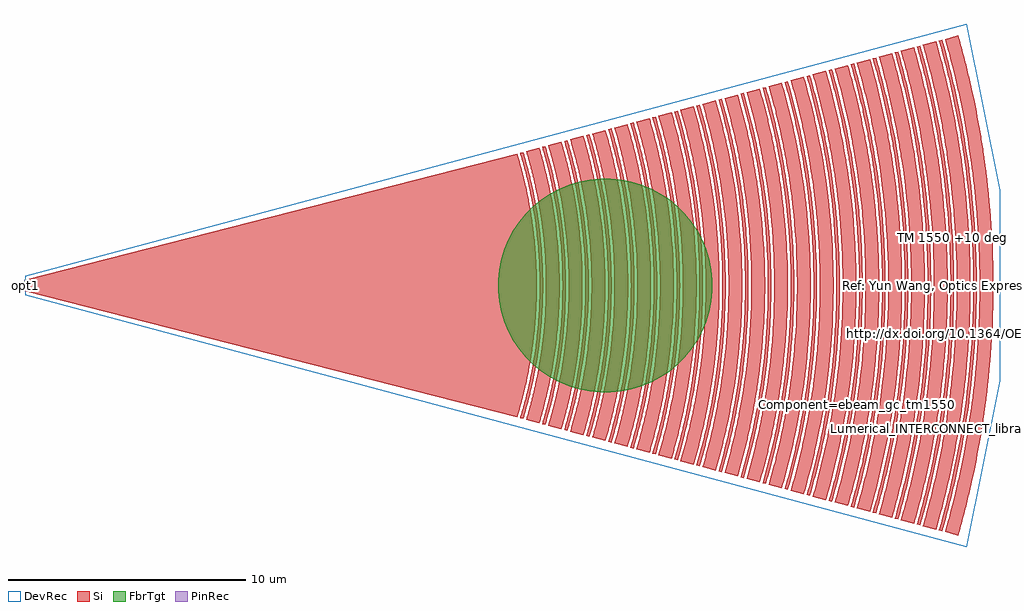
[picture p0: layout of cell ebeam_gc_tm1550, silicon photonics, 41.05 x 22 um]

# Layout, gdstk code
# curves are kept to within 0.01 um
import gdstk
lib = gdstk.Library(unit=1e-6, precision=1e-09)
def R(c, l, rs):  # rectangles x0, y0, x1, y1
    for r in rs: c.add(gdstk.rectangle(r[:2], r[2:], *l))
def P(c, l, *ps):  # polygons
    for p in ps: c.add(gdstk.Polygon(p, *l))
Si = (1, 0)
PinRec = (1, 10)
DevRec = (68, 0)
FbrTgt = (81, 0)

ebeam_gc_tm1550 = lib.new_cell('ebeam_gc_tm1550')
R(ebeam_gc_tm1550, Si, [(-0.001,-0.001,0.001,0.001)])
P(ebeam_gc_tm1550, Si, [(20.967,-5.559),(21.151,-4.903),(21.312,-4.239),(21.46,-3.514),(21.572,-2.84),(21.66,-2.162),(21.733,-1.367),(21.771,-0.627),(21.781,0.057),(21.641,0.057),(21.627,-0.736),(21.576,-1.584),(21.48,-2.485),(21.352,-3.324),(21.111,-4.487),(20.815,-5.577),(20.951,-5.614)],
  [(21.78,0.114),(21.767,0.741),(21.72,1.538),(21.647,2.275),(21.555,2.953),(21.439,3.626),(21.287,4.35),(21.151,4.903),(20.951,5.614),(20.815,5.577),(21.015,4.871),(21.223,3.991),(21.371,3.213),(21.508,2.261),(21.611,1.076),(21.641,0.057),(21.781,0.057)],
  [(21.658,-5.682),(21.816,-5.117),(22.009,-4.318),(22.159,-3.569),(22.272,-2.873),(22.367,-2.114),(22.437,-1.294),(22.47,-0.588),(22.478,0.172),(21.903,0.172),(21.897,-0.516),(21.863,-1.261),(21.812,-1.889),(21.71,-2.743),(21.581,-3.534),(21.457,-4.151),(21.285,-4.875),(21.069,-5.645),(21.624,-5.794)],
  [(22.478,0.177),(22.459,0.882),(22.416,1.587),(22.341,2.348),(22.255,2.989),(22.159,3.569),(22.009,4.318),(21.816,5.117),(21.624,5.794),(21.069,5.645),(21.256,4.985),(21.407,4.375),(21.56,3.647),(21.685,2.913),(21.769,2.288),(21.833,1.661),(21.882,0.917),(21.903,0.172)],
  [(21.912,-5.748),(22.116,-5.004),(22.279,-4.31),(22.439,-3.494),(22.541,-2.848),(22.622,-2.198),(22.691,-1.428),(22.734,-0.536),(22.741,0.059),(22.601,0.059),(22.584,-0.828),(22.538,-1.596),(22.441,-2.537),(22.32,-3.356),(22.077,-4.572),(21.92,-5.202),(21.743,-5.826),(21.878,-5.862)],
  [(22.741,0.06),(22.724,0.833),(22.691,1.428),(22.622,2.198),(22.524,2.965),(22.418,3.611),(22.279,4.31),(22.116,5.004),(21.878,5.862),(21.743,5.826),(22.05,4.687),(22.28,3.589),(22.426,2.654),(22.518,1.832),(22.579,0.946),(22.601,0.059)],
  [(22.552,-6.043),(22.735,-5.395),(22.911,-4.682),(23.062,-3.963),(23.188,-3.238),(23.281,-2.57),(23.378,-1.594),(23.421,-0.859),(23.438,-0.184),(23.433,0.491),(23.387,1.471),(23.329,2.144),(23.233,2.935),(23.128,3.601),(22.951,4.503),(22.766,5.277),(22.552,6.043),(21.996,5.894),(22.16,5.32),(22.334,4.625),(22.56,3.513),(22.654,2.922),(22.744,2.21),(22.8,1.614),(22.844,0.898),(22.863,0.18),(22.849,-0.778),(22.8,-1.614),(22.702,-2.566),(22.56,-3.513),(22.412,-4.275),(22.25,-4.973),(21.996,-5.894)],
  [(22.823,-6.051),(23.006,-5.396),(23.195,-4.614),(23.366,-3.763),(23.493,-2.968),(23.584,-2.229),(23.649,-1.488),(23.686,-0.806),(23.701,0.062),(23.561,0.062),(23.546,-0.802),(23.505,-1.541),(23.41,-2.522),(23.28,-3.438),(23.031,-4.707),(22.854,-5.423),(22.67,-6.074),(22.805,-6.111)],
  [(23.7,0.124),(23.686,0.806),(23.64,1.612),(23.542,2.599),(23.457,3.213),(23.309,4.068),(23.168,4.735),(23.006,5.396),(22.805,6.111),(22.67,6.074),(22.885,5.304),(23.11,4.346),(23.28,3.438),(23.395,2.645),(23.469,1.971),(23.525,1.233),(23.561,0.062),(23.701,0.062)],
  [(23.533,-6.108),(23.717,-5.432),(23.92,-4.563),(24.098,-3.623),(24.194,-2.992),(24.285,-2.231),(24.345,-1.532),(24.383,-0.83),(24.398,0.128),(23.823,0.128),(23.806,-0.873),(23.767,-1.558),(23.706,-2.241),(23.606,-3.045),(23.497,-3.722),(23.342,-4.516),(23.141,-5.364),(22.923,-6.142),(23.479,-6.291)],
  [(24.397,0.192),(24.383,0.83),(24.336,1.659),(24.243,2.612),(24.167,3.182),(24.043,3.937),(23.893,4.688),(23.701,5.494),(23.479,6.291),(22.923,6.142),(23.141,5.364),(23.288,4.759),(23.453,3.967),(23.588,3.168),(23.706,2.241),(23.767,1.558),(23.806,0.873),(23.823,0.128),(24.398,0.128)],
  [(23.751,-6.297),(23.957,-5.553),(24.164,-4.675),(24.302,-3.98),(24.418,-3.28),(24.526,-2.448),(24.598,-1.677),(24.645,-0.839),(24.661,0.064),(24.521,0.064),(24.503,-0.898),(24.448,-1.795),(24.357,-2.689),(24.24,-3.515),(24.092,-4.335),(23.957,-4.961),(23.788,-5.645),(23.597,-6.323),(23.732,-6.359)],
  [(24.661,0.065),(24.64,0.968),(24.598,1.677),(24.526,2.448),(24.418,3.28),(24.302,3.98),(24.094,4.99),(23.957,5.553),(23.732,6.359),(23.597,6.323),(23.788,5.645),(23.957,4.961),(24.092,4.335),(24.219,3.641),(24.357,2.689),(24.448,1.795),(24.503,0.898),(24.521,0.064)],
  [(24.425,-6.476),(24.669,-5.582),(24.821,-4.937),(25.002,-4.027),(25.119,-3.307),(25.22,-2.517),(25.308,-1.526),(25.347,-0.73),(25.358,0.13),(24.783,0.13),(24.77,-0.778),(24.725,-1.621),(24.655,-2.396),(24.549,-3.232),(24.423,-3.999),(24.257,-4.825),(24.06,-5.643),(23.851,-6.391),(24.406,-6.54)],
  [(25.358,0.133),(25.347,0.73),(25.308,1.526),(25.22,2.517),(25.119,3.307),(25.002,4.027),(24.821,4.937),(24.603,5.838),(24.406,6.54),(23.851,6.391),(24.06,5.643),(24.257,4.825),(24.423,3.999),(24.549,3.232),(24.655,2.396),(24.725,1.621),(24.765,0.908),(24.783,0.13)],
  [(24.679,-6.543),(24.892,-5.77),(25.064,-5.054),(25.273,-4.003),(25.398,-3.208),(25.509,-2.277),(25.57,-1.542),(25.607,-0.805),(25.621,0.067),(25.481,0.067),(25.465,-0.867),(25.411,-1.799),(25.327,-2.662),(25.19,-3.652),(25.075,-4.309),(24.912,-5.091),(24.739,-5.802),(24.525,-6.571),(24.66,-6.608)],
  [(25.62,0.134),(25.602,0.939),(25.545,1.876),(25.466,2.677),(25.379,3.341),(25.213,4.332),(25.064,5.054),(24.892,5.77),(24.66,6.608),(24.525,6.571),(24.772,5.674),(24.997,4.701),(25.19,3.652),(25.303,2.861),(25.43,1.533),(25.465,0.867),(25.481,0.067),(25.621,0.067)],
  [(25.353,-6.722),(25.605,-5.794),(25.777,-5.057),(25.962,-4.112),(26.09,-3.296),(26.19,-2.476),(26.266,-1.583),(26.302,-0.895),(26.318,0.135),(25.743,0.135),(25.732,-0.741),(25.692,-1.549),(25.603,-2.556),(25.51,-3.291),(25.394,-4.022),(25.213,-4.946),(25.028,-5.732),(24.778,-6.639),(25.333,-6.788)],
  [(26.318,0.138),(26.302,0.895),(26.246,1.858),(26.16,2.749),(26.04,3.636),(25.874,4.586),(25.702,5.393),(25.537,6.06),(25.333,6.788),(24.778,6.639),(25.028,5.732),(25.184,5.078),(25.346,4.287),(25.491,3.424),(25.603,2.556),(25.678,1.751),(25.727,0.876),(25.743,0.135)],
  [(25.607,-6.789),(25.81,-6.054),(26.02,-5.176),(26.197,-4.29),(26.341,-3.398),(26.444,-2.57),(26.528,-1.599),(26.569,-0.765),(26.581,0.069),(26.441,0.069),(26.424,-0.9),(26.363,-1.936),(26.257,-2.968),(26.129,-3.858),(25.995,-4.607),(25.837,-5.351),(25.691,-5.955),(25.452,-6.82),(25.587,-6.856)],
  [(26.581,0.07),(26.564,0.904),(26.508,1.877),(26.421,2.777),(26.321,3.535),(26.172,4.427),(26.02,5.176),(25.81,6.054),(25.587,6.856),(25.452,6.82),(25.691,5.955),(25.837,5.351),(25.995,4.607),(26.129,3.858),(26.257,2.968),(26.363,1.936),(26.424,0.9),(26.441,0.069)],
  [(26.281,-6.968),(26.524,-6.075),(26.734,-5.172),(26.898,-4.332),(27.052,-3.346),(27.153,-2.495),(27.229,-1.57),(27.264,-0.857),(27.278,0.14),(26.703,0.14),(26.689,-0.839),(26.655,-1.537),(26.566,-2.581),(26.472,-3.344),(26.318,-4.31),(26.155,-5.131),(25.929,-6.082),(25.705,-6.888),(26.261,-7.037)],
  [(27.278,0.143),(27.264,0.857),(27.204,1.926),(27.106,2.921),(27.012,3.628),(26.898,4.332),(26.704,5.312),(26.489,6.213),(26.261,7.037),(25.705,6.888),(25.929,6.082),(26.125,5.268),(26.318,4.31),(26.432,3.621),(26.566,2.581),(26.63,1.886),(26.684,0.978),(26.703,0.14)],
  [(26.535,-7.036),(26.78,-6.133),(26.946,-5.433),(27.157,-4.374),(27.293,-3.52),(27.407,-2.591),(27.491,-1.585),(27.526,-0.865),(27.541,0.072),(27.401,0.072),(27.381,-1.004),(27.326,-1.935),(27.228,-2.934),(27.09,-3.928),(26.967,-4.634),(26.793,-5.475),(26.626,-6.172),(26.379,-7.068),(26.514,-7.104)],
  [(27.54,0.144),(27.518,1.081),(27.46,2.017),(27.367,2.949),(27.251,3.806),(27.105,4.657),(26.946,5.433),(26.744,6.273),(26.514,7.104),(26.379,7.068),(26.626,6.172),(26.869,5.126),(27.067,4.069),(27.202,3.147),(27.289,2.363),(27.351,1.577),(27.391,0.717),(27.401,0.072),(27.541,0.072)],
  [(27.209,-7.214),(27.442,-6.361),(27.661,-5.427),(27.871,-4.339),(27.995,-3.537),(28.109,-2.583),(28.192,-1.551),(28.226,-0.813),(28.238,0.145),(27.663,0.145),(27.651,-0.797),(27.613,-1.592),(27.529,-2.602),(27.404,-3.608),(27.278,-4.394),(27.097,-5.316),(26.864,-6.301),(26.633,-7.136),(27.188,-7.285)],
  [(28.238,0.148),(28.218,1.035),(28.167,1.92),(28.069,2.95),(27.974,3.683),(27.806,4.703),(27.661,5.427),(27.442,6.361),(27.188,7.285),(26.633,7.136),(26.864,6.301),(27.066,5.457),(27.226,4.678),(27.383,3.751),(27.489,2.962),(27.588,1.953),(27.637,1.158),(27.663,0.145)],
  [(27.462,-7.282),(27.716,-6.348),(27.903,-5.55),(28.065,-4.747),(28.245,-3.643),(28.355,-2.755),(28.429,-1.938),(28.483,-0.97),(28.501,0.074),(28.361,0.074),(28.346,-0.891),(28.289,-1.929),(28.191,-2.963),(28.04,-4.066),(27.871,-5.015),(27.701,-5.812),(27.543,-6.46),(27.306,-7.317),(27.442,-7.353)],
  [(28.501,0.075),(28.483,0.97),(28.429,1.938),(28.347,2.829),(28.213,3.865),(28.065,4.747),(27.871,5.696),(27.679,6.492),(27.442,7.353),(27.306,7.317),(27.543,6.46),(27.701,5.812),(27.842,5.16),(27.992,4.358),(28.146,3.331),(28.259,2.298),(28.334,1.188),(28.361,0.074)],
  [(28.137,-7.46),(28.377,-6.577),(28.603,-5.612),(28.78,-4.713),(28.937,-3.733),(29.065,-2.671),(29.141,-1.757),(29.183,-0.917),(29.198,0.15),(28.623,0.15),(28.613,-0.749),(28.567,-1.722),(28.477,-2.767),(28.377,-3.585),(28.199,-4.694),(28.039,-5.501),(27.817,-6.448),(27.56,-7.385),(28.115,-7.533)],
  [(29.198,0.153),(29.174,1.146),(29.125,1.986),(29.024,3.051),(28.904,3.959),(28.78,4.713),(28.587,5.686),(28.377,6.577),(28.115,7.533),(27.56,7.385),(27.817,6.448),(28.039,5.501),(28.199,4.694),(28.356,3.733),(28.469,2.842),(28.551,1.946),(28.596,1.199),(28.623,0.15)],
  [(28.39,-7.528),(28.633,-6.637),(28.877,-5.587),(29.079,-4.528),(29.208,-3.69),(29.334,-2.618),(29.403,-1.773),(29.45,-0.771),(29.461,0.077),(29.321,0.077),(29.293,-1.228),(29.229,-2.223),(29.128,-3.216),(28.978,-4.279),(28.845,-5.034),(28.691,-5.785),(28.439,-6.828),(28.234,-7.565),(28.369,-7.601)],
  [(29.46,0.154),(29.433,1.234),(29.381,2.08),(29.285,3.078),(29.164,3.995),(28.997,4.983),(28.828,5.813),(28.633,6.637),(28.369,7.601),(28.234,7.565),(28.515,6.531),(28.755,5.485),(28.953,4.43),(29.109,3.368),(29.209,2.453),(29.268,1.688),(29.308,0.844),(29.321,0.077),(29.461,0.077)],
  [(29.065,-7.706),(29.293,-6.871),(29.545,-5.796),(29.741,-4.79),(29.9,-3.777),(30.013,-2.837),(30.094,-1.893),(30.145,-0.868),(30.158,0.155),(29.583,0.155),(29.57,-0.852),(29.535,-1.625),(29.456,-2.629),(29.34,-3.628),(29.2,-4.546),(28.981,-5.686),(28.733,-6.739),(28.487,-7.633),(29.043,-7.782)],
  [(30.158,0.158),(30.145,0.868),(30.094,1.893),(30.013,2.837),(29.878,3.933),(29.741,4.79),(29.545,5.796),(29.293,6.871),(29.043,7.782),(28.487,7.633),(28.733,6.739),(28.948,5.837),(29.118,5.003),(29.285,4.012),(29.407,3.091),(29.509,2.012),(29.562,1.084),(29.583,0.155)],
  [(29.318,-7.774),(29.568,-6.853),(29.803,-5.847),(30.014,-4.754),(30.138,-3.968),(30.266,-2.941),(30.356,-1.91),(30.402,-1.035),(30.421,0.079),(30.281,0.079),(30.265,-0.951),(30.199,-2.138),(30.082,-3.321),(29.928,-4.419),(29.761,-5.355),(29.58,-6.206),(29.372,-7.052),(29.161,-7.814),(29.296,-7.85)],
  [(30.421,0.08),(30.402,1.035),(30.356,1.91),(30.266,2.941),(30.138,3.968),(30.014,4.754),(29.803,5.847),(29.568,6.853),(29.296,7.85),(29.161,7.814),(29.372,7.052),(29.58,6.206),(29.761,5.355),(29.928,4.419),(30.082,3.321),(30.199,2.138),(30.259,1.11),(30.281,0.079)],
  [(29.993,-7.952),(30.287,-6.853),(30.504,-5.902),(30.689,-4.943),(30.841,-3.978),(30.977,-2.846),(31.052,-1.954),(31.102,-0.977),(31.118,0.16),(30.543,0.16),(30.53,-0.879),(30.478,-1.917),(30.388,-2.953),(30.248,-4.063),(30.079,-5.087),(29.872,-6.105),(29.648,-7.036),(29.415,-7.882),(29.97,-8.03)],
  [(31.118,0.163),(31.096,1.14),(31.028,2.279),(30.924,3.332),(30.818,4.139),(30.646,5.183),(30.453,6.14),(30.187,7.247),(29.97,8.03),(29.415,7.882),(29.648,7.036),(29.872,6.105),(30.079,5.087),(30.248,4.063),(30.343,3.35),(30.448,2.316),(30.518,1.199),(30.543,0.16)],
  [(30.246,-8.02),(30.523,-6.991),(30.745,-6.032),(30.934,-5.066),(31.09,-4.093),(31.23,-2.952),(31.314,-1.97),(31.367,-0.904),(31.381,0.082),(31.241,0.082),(31.227,-0.9),(31.174,-1.961),(31.082,-3.02),(30.951,-4.075),(30.781,-5.123),(30.573,-6.165),(30.347,-7.118),(30.088,-8.062),(30.223,-8.098)],
  [(31.38,0.164),(31.355,1.232),(31.296,2.216),(31.23,2.952),(31.09,4.093),(30.934,5.066),(30.745,6.032),(30.483,7.15),(30.223,8.098),(30.088,8.062),(30.367,7.039),(30.641,5.845),(30.824,4.882),(31.006,3.67),(31.107,2.776),(31.185,1.798),(31.227,0.9),(31.241,0.082),(31.381,0.082)],
  [(30.921,-8.198),(31.203,-7.146),(31.429,-6.166),(31.651,-5.013),(31.816,-3.935),(31.933,-2.934),(32.021,-1.846),(32.069,-0.756),(32.078,0.165),(31.503,0.165),(31.492,-0.825),(31.436,-1.978),(31.352,-2.964),(31.223,-4.027),(31.069,-5.004),(30.865,-6.055),(30.602,-7.178),(30.342,-8.13),(30.897,-8.279)],
  [(32.078,0.168),(32.052,1.259),(31.992,2.265),(31.907,3.185),(31.757,4.35),(31.577,5.426),(31.394,6.33),(31.162,7.309),(30.897,8.279),(30.342,8.13),(30.602,7.178),(30.865,6.055),(31.069,5.004),(31.223,4.027),(31.352,2.964),(31.436,1.978),(31.484,1.072),(31.503,0.165)],
  [(31.197,-8.185),(31.459,-7.205),(31.687,-6.217),(31.896,-5.137),(32.065,-4.051),(32.177,-3.127),(32.272,-2.03),(32.324,-1.016),(32.341,0.084),(32.201,0.084),(32.181,-1.096),(32.114,-2.274),(32.01,-3.364),(31.827,-4.7),(31.65,-5.695),(31.459,-6.601),(31.239,-7.5),(31.016,-8.311),(31.151,-8.347)],
  [(32.341,0.085),(32.321,1.1),(32.26,2.199),(32.168,3.211),(32.017,4.386),(31.836,5.47),(31.633,6.465),(31.375,7.533),(31.151,8.347),(31.016,8.311),(31.302,7.255),(31.532,6.272),(31.743,5.198),(31.903,4.2),(32.01,3.364),(32.114,2.274),(32.181,1.096),(32.201,0.084)],
  [(31.848,-8.444),(32.139,-7.361),(32.389,-6.266),(32.599,-5.163),(32.757,-4.138),(32.889,-3.022),(32.974,-1.988),(33.024,-0.951),(33.038,0.17),(32.463,0.17),(32.449,-0.935),(32.4,-1.953),(32.299,-3.138),(32.175,-4.15),(32.017,-5.157),(31.807,-6.24),(31.558,-7.315),(31.269,-8.379),(31.824,-8.527)],
  [(33.038,0.173),(33.018,1.124),(32.956,2.247),(32.862,3.28),(32.721,4.395),(32.539,5.503),(32.335,6.52),(32.097,7.528),(31.824,8.527),(31.269,8.379),(31.558,7.315),(31.753,6.489),(31.972,5.408),(32.151,4.318),(32.29,3.223),(32.376,2.292),(32.44,1.19),(32.463,0.17)],
  [(32.102,-8.512),(32.373,-7.504),(32.629,-6.401),(32.813,-5.462),(32.981,-4.43),(33.123,-3.306),(33.218,-2.265),(33.277,-1.22),(33.301,0.087),(33.161,0.087),(33.149,-0.868),(33.096,-1.995),(33.002,-3.12),(32.89,-4.068),(32.72,-5.182),(32.527,-6.205),(32.279,-7.304),(31.943,-8.559),(32.078,-8.595)],
  [(33.3,0.174),(33.277,1.22),(33.218,2.265),(33.123,3.306),(32.981,4.43),(32.782,5.633),(32.592,6.572),(32.331,7.672),(32.078,8.595),(31.943,8.559),(32.216,7.556),(32.455,6.544),(32.675,5.439),(32.842,4.411),(32.984,3.292),(33.078,2.255),(33.137,1.215),(33.161,0.087),(33.301,0.087)],
  [(32.776,-8.69),(33.053,-7.661),(33.295,-6.623),(33.517,-5.489),(33.685,-4.435),(33.836,-3.198),(33.92,-2.223),(33.986,-0.89),(33.998,0.175),(33.423,0.175),(33.406,-1.05),(33.358,-2.011),(33.272,-3.057),(33.115,-4.36),(32.934,-5.482),(32.731,-6.511),(32.493,-7.531),(32.196,-8.627),(32.752,-8.776)],
  [(33.998,0.178),(33.974,1.246),(33.907,2.401),(33.817,3.375),(33.685,4.435),(33.517,5.489),(33.295,6.623),(33.053,7.661),(32.752,8.776),(32.196,8.627),(32.493,7.531),(32.731,6.511),(32.934,5.482),(33.115,4.36),(33.245,3.318),(33.34,2.273),(33.406,1.05),(33.423,0.175)],
  [(33.055,-8.672),(33.309,-7.721),(33.571,-6.586),(33.776,-5.531),(33.97,-4.291),(34.115,-3.045),(34.2,-1.972),(34.246,-0.986),(34.261,0.089),(34.121,0.089),(34.1,-1.161),(34.036,-2.32),(33.958,-3.21),(33.819,-4.362),(33.638,-5.508),(33.415,-6.647),(33.194,-7.602),(32.87,-8.808),(33.005,-8.844)],
  [(34.261,0.09),(34.243,1.076),(34.182,2.24),(34.088,3.312),(33.945,4.469),(33.776,5.531),(33.571,6.586),(33.309,7.721),(33.005,8.844),(32.87,8.808),(33.194,7.602),(33.415,6.647),(33.638,5.508),(33.781,4.627),(33.939,3.388),(34.036,2.32),(34.1,1.161),(34.121,0.089)],
  [(33.704,-8.937),(34.032,-7.701),(34.274,-6.631),(34.48,-5.554),(34.662,-4.379),(34.818,-3.016),(34.896,-2.012),(34.943,-1.007),(34.958,0.18),(34.383,0.18),(34.371,-0.9),(34.322,-1.979),(34.237,-3.056),(34.079,-4.396),(33.897,-5.551),(33.691,-6.61),(33.45,-7.661),(33.124,-8.875),(33.679,-9.024)],
  [(34.958,0.183),(34.937,1.189),(34.878,2.286),(34.782,3.38),(34.624,4.651),(34.432,5.824),(34.217,6.899),(33.966,7.967),(33.679,9.024),(33.124,8.875),(33.384,7.922),(33.653,6.786),(33.849,5.816),(34.054,4.574),(34.21,3.324),(34.291,2.428),(34.355,1.35),(34.383,0.18)],
  [(33.958,-9.004),(34.244,-7.937),(34.494,-6.861),(34.755,-5.505),(34.91,-4.503),(35.053,-3.313),(35.14,-2.303),(35.199,-1.198),(35.221,0.092),(35.081,0.092),(35.059,-1.194),(35,-2.294),(34.904,-3.392),(34.771,-4.485),(34.553,-5.844),(34.337,-6.924),(34.085,-7.995),(33.797,-9.056),(33.933,-9.092)],
  [(35.22,0.184),(35.199,1.198),(35.14,2.303),(35.053,3.313),(34.884,4.685),(34.691,5.867),(34.494,6.861),(34.199,8.116),(33.933,9.092),(33.797,9.056),(34.085,7.995),(34.337,6.924),(34.553,5.844),(34.732,4.758),(34.864,3.757),(34.987,2.477),(35.052,1.377),(35.081,0.092),(35.221,0.092)],
  [(34.632,-9.183),(34.946,-8.004),(35.178,-6.997),(35.428,-5.706),(35.627,-4.406),(35.766,-3.192),(35.86,-1.973),(35.908,-0.846),(35.918,0.185),(35.343,0.185),(35.333,-0.833),(35.286,-1.942),(35.202,-3.049),(35.044,-4.427),(34.876,-5.524),(34.614,-6.885),(34.341,-8.055),(34.051,-9.124),(34.606,-9.273)],
  [(35.918,0.188),(35.889,1.41),(35.836,2.349),(35.728,3.566),(35.575,4.778),(35.395,5.891),(35.178,6.997),(34.946,8.004),(34.606,9.273),(34.051,9.124),(34.341,8.055),(34.614,6.885),(34.828,5.797),(34.992,4.793),(35.125,3.785),(35.234,2.68),(35.306,1.572),(35.343,0.185)],
  [(34.912,-9.159),(35.202,-8.062),(35.455,-6.956),(35.687,-5.748),(35.875,-4.532),(35.999,-3.498),(36.098,-2.366),(36.162,-1.136),(36.181,0.094),(36.041,0.094),(36.028,-0.943),(35.971,-2.169),(35.888,-3.203),(35.736,-4.514),(35.549,-5.726),(35.337,-6.837),(35.043,-8.122),(34.725,-9.304),(34.86,-9.341)],
  [(36.181,0.095),(36.162,1.136),(36.098,2.366),(35.999,3.498),(35.849,4.72),(35.687,5.748),(35.455,6.956),(35.202,8.062),(34.86,9.341),(34.725,9.304),(35.02,8.214),(35.298,7.021),(35.549,5.726),(35.71,4.701),(35.869,3.391),(35.958,2.357),(36.022,1.132),(36.041,0.094)],
  [(35.56,-9.429),(35.882,-8.218),(36.159,-6.996),(36.392,-5.764),(36.567,-4.619),(36.703,-3.469),(36.807,-2.219),(36.865,-0.965),(36.878,0.19),(36.303,0.19),(36.281,-1.235),(36.22,-2.374),(36.111,-3.604),(35.957,-4.83),(35.775,-5.955),(35.575,-6.98),(35.321,-8.09),(34.978,-9.372),(35.534,-9.521)],
  [(36.878,0.193),(36.852,1.351),(36.78,2.604),(36.662,3.853),(36.513,5.002),(36.325,6.144),(36.099,7.279),(35.835,8.405),(35.534,9.521),(34.978,9.372),(35.321,8.09),(35.575,6.98),(35.775,5.955),(35.957,4.83),(36.09,3.793),(36.199,2.658),(36.265,1.615),(36.303,0.19)],
  [(35.814,-9.496),(36.138,-8.277),(36.377,-7.236),(36.635,-5.901),(36.814,-4.749),(36.944,-3.687),(37.056,-2.429),(37.118,-1.264),(37.141,0.097),(37.001,0.097),(36.978,-1.259),(36.923,-2.323),(36.805,-3.674),(36.662,-4.827),(36.48,-5.974),(36.219,-7.303),(35.931,-8.527),(35.652,-9.553),(35.787,-9.589)],
  [(37.14,0.194),(37.118,1.264),(37.049,2.526),(36.923,3.881),(36.787,4.941),(36.584,6.188),(36.377,7.236),(36.091,8.465),(35.787,9.589),(35.652,9.553),(35.931,8.527),(36.219,7.303),(36.48,5.974),(36.662,4.827),(36.805,3.674),(36.923,2.323),(36.978,1.259),(37.001,0.097),(37.141,0.097)],
  [(36.515,-9.58),(36.794,-8.528),(37.061,-7.372),(37.289,-6.207),(37.506,-4.838),(37.659,-3.56),(37.765,-2.277),(37.822,-1.089),(37.838,0.195),(37.263,0.195),(37.244,-1.17),(37.185,-2.339),(37.066,-3.7),(36.922,-4.861),(36.722,-6.112),(36.497,-7.26),(36.234,-8.398),(35.906,-9.621),(36.461,-9.77)],
  [(37.838,0.198),(37.803,1.584),(37.73,2.771),(37.594,4.15),(37.464,5.132),(37.289,6.207),(37.061,7.372),(36.77,8.624),(36.461,9.77),(35.906,9.621),(36.234,8.398),(36.497,7.26),(36.722,6.112),(36.922,4.861),(37.045,3.894),(37.164,2.631),(37.233,1.463),(37.263,0.195)],
  [(36.742,-9.742),(37.097,-8.394),(37.339,-7.326),(37.548,-6.25),(37.766,-4.871),(37.91,-3.684),(38.014,-2.492),(38.081,-1.197),(38.101,0.099),(37.961,0.099),(37.941,-1.192),(37.881,-2.383),(37.76,-3.769),(37.627,-4.854),(37.41,-6.227),(37.181,-7.396),(36.865,-8.748),(36.579,-9.801),(36.714,-9.838)],
  [(38.101,0.1),(38.081,1.197),(38.014,2.492),(37.91,3.684),(37.724,5.168),(37.548,6.25),(37.276,7.618),(37.001,8.781),(36.714,9.838),(36.579,9.801),(36.865,8.748),(37.181,7.396),(37.41,6.227),(37.585,5.149),(37.76,3.769),(37.867,2.581),(37.934,1.391),(37.961,0.099)],
  [(37.416,-9.921),(37.729,-8.745),(38.044,-7.361),(38.254,-6.264),(38.458,-4.961),(38.604,-3.751),(38.71,-2.537),(38.778,-1.219),(38.798,0.2),(38.223,0.2),(38.2,-1.301),(38.143,-2.4),(38.032,-3.696),(37.874,-4.986),(37.669,-6.27),(37.459,-7.349),(37.145,-8.712),(36.833,-9.869),(37.388,-10.018)],
  [(38.798,0.203),(38.778,1.219),(38.71,2.537),(38.604,3.751),(38.444,5.061),(38.254,6.264),(37.981,7.658),(37.729,8.745),(37.388,10.018),(36.833,9.869),(37.145,8.712),(37.459,7.349),(37.669,6.27),(37.874,4.986),(38.032,3.696),(38.129,2.599),(38.2,1.301),(38.223,0.2)],
  [(37.698,-9.89),(37.985,-8.804),(38.302,-7.41),(38.513,-6.307),(38.732,-4.893),(38.876,-3.675),(38.992,-2.248),(39.044,-1.125),(39.061,0.102),(38.921,0.102),(38.904,-1.121),(38.839,-2.444),(38.726,-3.763),(38.593,-4.875),(38.392,-6.184),(38.144,-7.483),(37.873,-8.674),(37.507,-10.05),(37.642,-10.086)],
  [(39.06,0.205),(39.029,1.533),(38.957,2.758),(38.821,4.183),(38.675,5.298),(38.477,6.508),(38.217,7.81),(37.91,9.101),(37.642,10.086),(37.507,10.05),(37.799,8.97),(38.08,7.782),(38.339,6.485),(38.551,5.178),(38.726,3.763),(38.832,2.545),(38.897,1.324),(38.921,0.102),(39.061,0.102)],
  [(38.428,-9.867),(38.714,-8.76),(38.987,-7.543),(39.219,-6.317),(39.438,-4.877),(39.57,-3.74),(39.675,-2.496),(39.741,-1.145),(39.758,0.205),(39.183,0.205),(39.172,-0.923),(39.114,-2.255),(39.018,-3.482),(38.867,-4.807),(38.651,-6.225),(38.422,-7.434),(38.104,-8.832),(37.76,-10.118),(38.316,-10.267)],
  [(39.758,0.208),(39.726,1.561),(39.66,2.704),(39.549,3.947),(39.381,5.29),(39.165,6.624),(38.944,7.746),(38.639,9.063),(38.316,10.267),(37.76,10.118),(38.029,9.13),(38.337,7.835),(38.598,6.528),(38.811,5.213),(38.954,4.094),(39.079,2.767),(39.147,1.641),(39.183,0.205)],
  [(38.598,-10.234),(38.945,-8.92),(39.223,-7.695),(39.442,-6.565),(39.656,-5.221),(39.821,-3.869),(39.937,-2.513),(40,-1.257),(40.021,0.104),(39.881,0.104),(39.86,-1.253),(39.79,-2.608),(39.692,-3.752),(39.517,-5.202),(39.304,-6.542),(39.086,-7.668),(38.733,-9.192),(38.434,-10.298),(38.569,-10.335)],
  [(40.021,0.105),(40,1.257),(39.937,2.513),(39.821,3.869),(39.656,5.221),(39.442,6.565),(39.223,7.695),(38.895,9.123),(38.569,10.335),(38.434,10.298),(38.733,9.192),(39.086,7.668),(39.304,6.542),(39.517,5.202),(39.692,3.752),(39.79,2.608),(39.86,1.253),(39.881,0.104)],
  [(39.272,-10.413),(39.625,-9.075),(39.929,-7.725),(40.148,-6.575),(40.362,-5.206),(40.526,-3.831),(40.64,-2.45),(40.697,-1.279),(40.718,0.21),(40.143,0.21),(40.126,-1.156),(40.066,-2.415),(39.943,-3.881),(39.792,-5.133),(39.599,-6.378),(39.365,-7.616),(39.014,-9.151),(38.687,-10.366),(39.243,-10.515)],
  [(40.718,0.213),(40.685,1.599),(40.602,2.982),(40.481,4.255),(40.317,5.523),(40.073,6.994),(39.841,8.142),(39.574,9.282),(39.243,10.515),(38.687,10.366),(39.014,9.151),(39.365,7.616),(39.599,6.378),(39.792,5.133),(39.943,3.881),(40.052,2.625),(40.119,1.366),(40.143,0.21)],
  [(20.697,-5.546),(20.881,-4.898),(21.042,-4.243),(21.159,-3.693),(21.295,-2.917),(21.386,-2.248),(21.449,-1.632),(21.5,-0.845),(21.518,-0.169),(21.512,0.507),(21.471,1.351),(21.399,2.136),(21.32,2.75),(21.201,3.472),(21.067,4.133),(20.881,4.898),(20.697,5.546),(0,0.25),(0,-0.25)])
P(ebeam_gc_tm1550, DevRec, [(39.6,-11),(41,-4),(41,4),(39.6,11),(0,0.4),(0,-0.4)])
P(ebeam_gc_tm1550, FbrTgt, [(24.621,-4.5),(25.061,-4.457),(25.495,-4.37),(25.918,-4.242),(26.326,-4.073),(26.716,-3.864),(27.084,-3.619),(27.426,-3.338),(27.738,-3.026),(28.019,-2.684),(28.264,-2.316),(28.473,-1.926),(28.642,-1.518),(28.77,-1.095),(28.857,-0.661),(28.9,-0.221),(28.9,0.221),(28.857,0.661),(28.77,1.095),(28.642,1.518),(28.473,1.926),(28.264,2.316),(28.019,2.684),(27.738,3.026),(27.426,3.338),(27.084,3.619),(26.716,3.864),(26.326,4.073),(25.918,4.242),(25.495,4.37),(25.061,4.457),(24.621,4.5),(24.179,4.5),(23.739,4.457),(23.305,4.37),(22.882,4.242),(22.474,4.073),(22.084,3.864),(21.716,3.619),(21.374,3.338),(21.062,3.026),(20.781,2.684),(20.536,2.316),(20.327,1.926),(20.158,1.518),(20.03,1.095),(19.943,0.661),(19.9,0.221),(19.9,-0.221),(19.943,-0.661),(20.03,-1.095),(20.158,-1.518),(20.327,-1.926),(20.536,-2.316),(20.781,-2.684),(21.062,-3.026),(21.374,-3.338),(21.716,-3.619),(22.084,-3.864),(22.474,-4.073),(22.882,-4.242),(23.305,-4.37),(23.739,-4.457),(24.179,-4.5)])
ebeam_gc_tm1550.add(gdstk.FlexPath([(0.05,0),(-0.05,0)], 0.5, ends="flush", simple_path=True, layer=1, datatype=10))  # PinRec
ebeam_gc_tm1550.add(gdstk.Label('opt1', (0,0), layer=1, texttype=10))
ebeam_gc_tm1550.add(gdstk.Label('Component=ebeam_gc_tm1550', (35,-5), layer=68, texttype=0))
ebeam_gc_tm1550.add(gdstk.Label('Lumerical_INTERCONNECT_library=Design kits/ebeam', (38,-6), layer=68, texttype=0))
ebeam_gc_tm1550.add(gdstk.Label('opt1', (0,0), layer=1, texttype=10))
ebeam_gc_tm1550.add(gdstk.Label('Component=ebeam_gc_tm1550', (35,-5), layer=68, texttype=0))
ebeam_gc_tm1550.add(gdstk.Label('Lumerical_INTERCONNECT_library=Design kits/ebeam', (38,-6), layer=68, texttype=0))
ebeam_gc_tm1550.add(gdstk.Label('Ref: Yun Wang, Optics Express, 08/2014', (39,0), layer=10, texttype=0))
ebeam_gc_tm1550.add(gdstk.Label('http://dx.doi.org/10.1364/OE.22.020652', (39,-2), layer=10, texttype=0))
ebeam_gc_tm1550.add(gdstk.Label('TM 1550 +10 deg', (39,2), layer=10, texttype=0))
ebeam_gc_tm1550.add(gdstk.Label('Ref: Yun Wang, Optics Express, 08/2014', (39,0), layer=10, texttype=0))
ebeam_gc_tm1550.add(gdstk.Label('http://dx.doi.org/10.1364/OE.22.020652', (39,-2), layer=10, texttype=0))
ebeam_gc_tm1550.add(gdstk.Label('TM 1550 +10 deg', (39,2), layer=10, texttype=0))

lib.write_gds('ebeam_gc_tm1550.gds')
